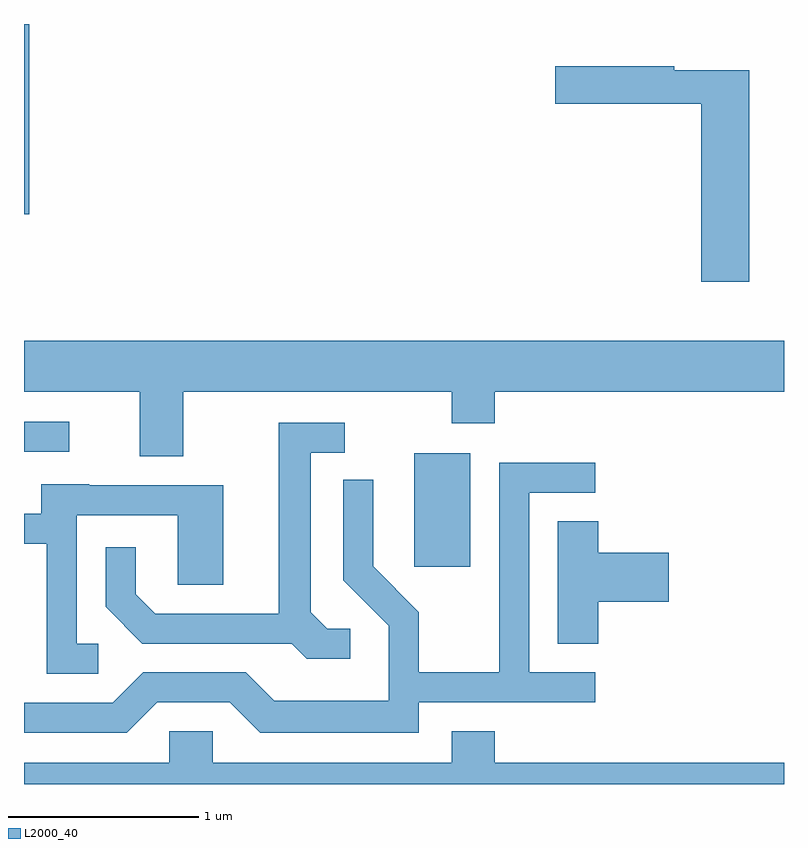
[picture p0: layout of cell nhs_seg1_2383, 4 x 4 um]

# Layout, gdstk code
import gdstk
lib = gdstk.Library(unit=1e-6, precision=1e-09)
def R(c, l, rs):  # rectangles x0, y0, x1, y1
    for r in rs: c.add(gdstk.rectangle(r[:2], r[2:], *l))
def P(c, l, *ps):  # polygons
    for p in ps: c.add(gdstk.Polygon(p, *l))
L2000_40 = (2000, 40)

nhs_seg1_2383 = lib.new_cell('nhs_seg1_2383')
R(nhs_seg1_2383, L2000_40, [(259.666,920.856,259.959,921.454), (257.611,921.461,257.848,921.619), (257.611,922.711,257.639,923.712)])
P(nhs_seg1_2383, L2000_40, [(261.429,923.469),(261.034,923.469),(261.034,923.489),(260.406,923.489),(260.406,923.291),(261.176,923.291),(261.176,922.356),(261.429,922.356)],
  [(258.449,921.776),(259.861,921.776),(259.861,921.611),(260.089,921.611),(260.089,921.776),(261.611,921.776),(261.611,922.044),(257.611,922.044),(257.611,921.776),(258.221,921.776),(258.221,921.436),(258.449,921.436)],
  [(259.328,920.529),(259.207,920.529),(259.119,920.617),(259.119,921.456),(259.298,921.456),(259.298,921.614),(258.951,921.614),(258.951,920.609),(258.302,920.609),(258.199,920.712),(258.199,920.958),(258.041,920.958),(258.041,920.644),(258.234,920.451),(259.019,920.451),(259.099,920.371),(259.328,920.371)],
  [(258.312,920.141),(258.694,920.141),(258.854,919.981),(259.689,919.981),(259.689,920.141),(260.618,920.141),(260.618,920.299),(260.269,920.299),(260.269,921.246),(260.618,921.246),(260.618,921.404),(260.111,921.404),(260.111,920.299),(259.689,920.299),(259.689,920.617),(259.449,920.857),(259.449,921.313),(259.291,921.313),(259.291,920.784),(259.531,920.544),(259.531,920.149),(258.927,920.149),(258.777,920.299),(258.239,920.299),(258.079,920.139),(257.611,920.139),(257.611,919.981),(258.152,919.981)],
  [(258.003,920.449),(257.889,920.449),(257.889,921.126),(258.421,921.126),(258.421,920.761),(258.659,920.761),(258.659,921.284),(257.955,921.284),(257.955,921.289),(257.701,921.289),(257.701,921.134),(257.611,921.134),(257.611,920.976),(257.731,920.976),(257.731,920.291),(258.003,920.291)],
  [(260.634,920.671),(261.004,920.671),(261.004,920.929),(260.634,920.929),(260.634,921.094),(260.421,921.094),(260.421,920.451),(260.634,920.451)],
  [(261.611,919.824),(260.089,919.824),(260.089,919.989),(259.861,919.989),(259.861,919.824),(258.604,919.824),(258.604,919.989),(258.376,919.989),(258.376,919.824),(257.611,919.824),(257.611,919.712),(261.611,919.712)])

lib.write_gds('nhs_seg1_2383.gds')
